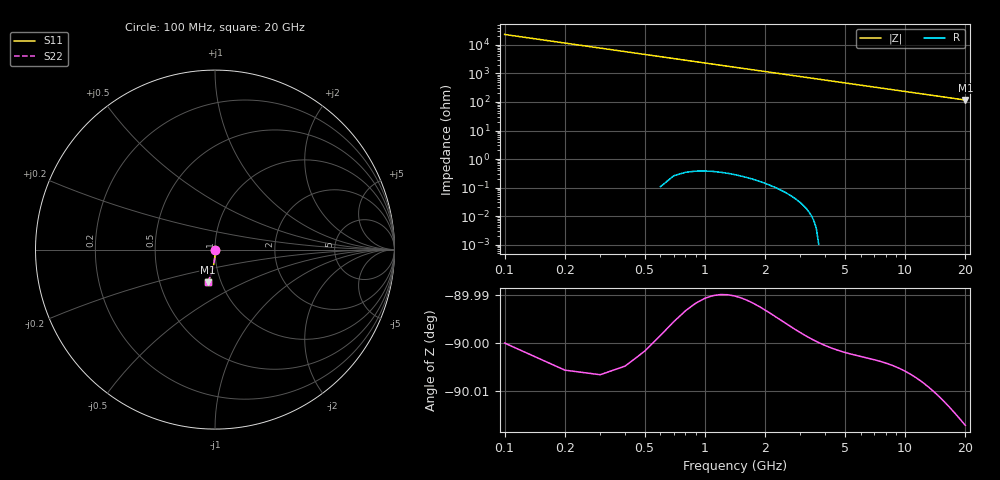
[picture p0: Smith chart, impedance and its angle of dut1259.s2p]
! Touchstone file exported from HFSS 2026.1.0
!  File:  C:/ffzhzh/LocalFiles/Ansys_Project_Files/temp_train_TSV_1259_1783193884_43440.aedt
!  Generated:  03:39:14 AM Jul  5, 2026
!  Design:  TSV
!  Project:  temp_train_TSV_1259_1783193884_43440
! Variables:
!  h_bsmrdl = 2um
!  h_ox = 20um
!  h_rdl = 5um
!  h_sub = 86.56um
!  h_tmrdl = 5um
!  h_tsv = 86.56um
!  h_via = 3um
!  l_bsmrdl = 300um
!  l_sub = 424.4um
!  l_tmrdl = 200um
!  m_sub = 200um
!  pitch = 26.48um
!  r_tsv = 12.2um
!  s_tmrdl = 10um
!  w_bsmrdl = 18um
!  w_sub = 500um
!  w_tmrdl = 12um
!  x_tsv_center1 = 206um
!  x_tsv_center2 = 524um
!  x_tsv_center3 = 736um
!  x_tsv_center4 = 1054um
!  x_tsv_center5 = 1266um
!  x_tsv_center6 = 1584um
# GHz S MA R 50.000000
! Terminal data exported
! Port[1] = TSV1_1_T1
! Port[2] = TSV1_1_T2
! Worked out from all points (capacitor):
!   200 points, 100 MHz to 20 GHz, reference 50 ohm
!   read as one part in shunt: C = 68.4 fF near 200 MHz
!   lowest |Z| = 117 ohm at 20 GHz (marker M1)
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0.1  0.0008878 -81.9  0.9999 -0.1  0.9999 -0.1  0.0008878 -81.9
! Gamma 0 0 0 0
! Port Impedance 50 0 50 0
0.2  0.001773 -85.1  0.9998 -0.1  0.9998 -0.1  0.001773 -85.1
0.3  0.002674 -86.0  0.9998 -0.2  0.9998 -0.2  0.002674 -86.0
0.4  0.003591 -86.4  0.9998 -0.3  0.9998 -0.3  0.003591 -86.4
0.5  0.004521 -86.7  0.9997 -0.4  0.9997 -0.4  0.004521 -86.7
0.7  0.006404 -87.2  0.9996 -0.5  0.9996 -0.5  0.006404 -87.2
0.8  0.007354 -87.5  0.9996 -0.6  0.9996 -0.6  0.007354 -87.5
1  0.009258 -87.9  0.9995 -0.7  0.9995 -0.7  0.009258 -87.9
1.2  0.01116 -88.3  0.9994 -0.8  0.9994 -0.8  0.01116 -88.3
1.4  0.01307 -88.7  0.9994 -1.0  0.9994 -1.0  0.01307 -88.7
1.7  0.01593 -89.1  0.9993 -1.2  0.9993 -1.2  0.01593 -89.1
2  0.01879 -89.5  0.9992 -1.4  0.9992 -1.4  0.01879 -89.5
2.7  0.02546 -90.3  0.999 -1.9  0.999 -1.9  0.02546 -90.3
3.5  0.03308 -91.0  0.9987 -2.4  0.9987 -2.4  0.03308 -91.0
4.2  0.03976 -91.6  0.9983 -2.9  0.9983 -2.9  0.03976 -91.6
5  0.04739 -92.3  0.9979 -3.4  0.9979 -3.4  0.04739 -92.3
6.8  0.06456 -93.6  0.9967 -4.7  0.9967 -4.7  0.06456 -93.6
8.3  0.07885 -94.7  0.9956 -5.7  0.9956 -5.7  0.07885 -94.7
10.1  0.09592 -96.0  0.9939 -6.9  0.9939 -6.9  0.09592 -96.0
13.4  0.127 -98.3  0.9902 -9.1  0.9902 -9.1  0.127 -98.3
16.7  0.1576 -100.6  0.9856 -11.3  0.9856 -11.3  0.1576 -100.6
20  0.1877 -102.8  0.9801 -13.5  0.9801 -13.5  0.1877 -102.8
